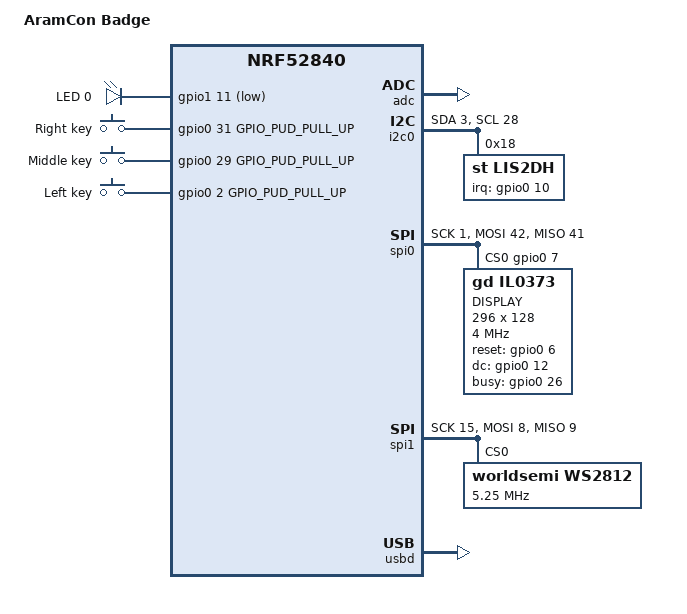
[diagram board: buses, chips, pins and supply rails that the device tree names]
/*
 * Copyright (c) 2018 Nordic Semiconductor ASA
 * Copyright (c) 2017 Linaro Limited
 *
 * SPDX-License-Identifier: Apache-2.0
 */

/dts-v1/;
#include <nordic/nrf52840_qiaa.dtsi>

/ {
	model = "AramCon Badge";
	compatible = "aramcon,badge", "nordic,nrf52840-qiaa",
		     "nordic,nrf52840";

	chosen {
		zephyr,console = &usb_cdc;
		zephyr,sram = &sram0;
		zephyr,flash = &flash0;
	};

	leds {
		compatible = "gpio-leds";
		led0_red: led_0 {
			gpios = <&gpio1 11 GPIO_INT_ACTIVE_LOW>;
			label = "LED 0";
		};
	};

	gpio_keys {
		compatible = "gpio-keys";
		key_right: button_0 {
			gpios = <&gpio0 31 GPIO_PUD_PULL_UP>;
			label = "Right key";
		};
		key_middle: button_1 {
			gpios = <&gpio0 29 GPIO_PUD_PULL_UP>;
			label = "Middle key";
		};
		key_left: button_2 {
			gpios = <&gpio0 2 GPIO_PUD_PULL_UP>;
			label = "Left key";
		};
	};

	/* These aliases are provided for compatibility with samples */
	aliases {
		led0 = &led0_red;
		sw0 = &key_right;
		sw1 = &key_middle;
		sw2 = &key_left;
	};
};

&adc {
	status = "ok";
};

&gpiote {
	status = "ok";
};

&gpio0 {
	status = "ok";
};

&gpio1 {
	status = "ok";
};

&i2c0 {
	status = "ok";
	sda-pin = <3>;
	scl-pin = <28>;

	lis2dh@18 {
		compatible = "st,lis2dh";
		reg = <0x18>;
		label = "LIS2DH";
		irq-gpios = <&gpio0 10 0>;
	};
};

&spi0 {
	status = "ok";
	sck-pin = <1>;
	mosi-pin = <42>;
	miso-pin = <41>;
	cs-gpios = <&gpio0 7 0>;

	il0373@0 {
		compatible = "gd,il0373", "gd,gdew029t5";
		label = "DISPLAY";
		spi-max-frequency = <4000000>;
		reg = <0>;
		width = <296>;
		height = <128>;
		pp-width-bits = <8>;
		pp-height-bits = <16>;
		reset-gpios = <&gpio0 6 0>;
		dc-gpios = <&gpio0 12 0>;
		busy-gpios = <&gpio0 26 0>;
		gdv-a = <0x10>;
		gdv-b = <0x0a>;
		sdv = <0x19>;
		vcom = <0xa8>;
		softstart-1 = <0xd7>;
		softstart-2 = <0xd6>;
		softstart-3 = <0x9d>;
		border-waveform = <0x71>;
		orientation-flipped = <1>;
	};
};

&spi1 {
	status = "ok";
	sck-pin = <15>;
	mosi-pin = <8>;
	miso-pin = <9>;

	ws2812@0 {
		compatible = "worldsemi,ws2812";
		reg = <0>;
		spi-max-frequency = <5250000>;
		label = "WS2812";
	};
};

/* Include flash partition table.
 * Two partition tables are available:
 * fstab-stock		-compatible with Nordic nRF5 bootloader, default
 * fstab-debugger	-to use an external debugger, w/o the nRF5 bootloader
 */
#include "fstab-stock.dts"

&usbd {
	compatible = "nordic,nrf-usbd";
	status = "ok";
};
